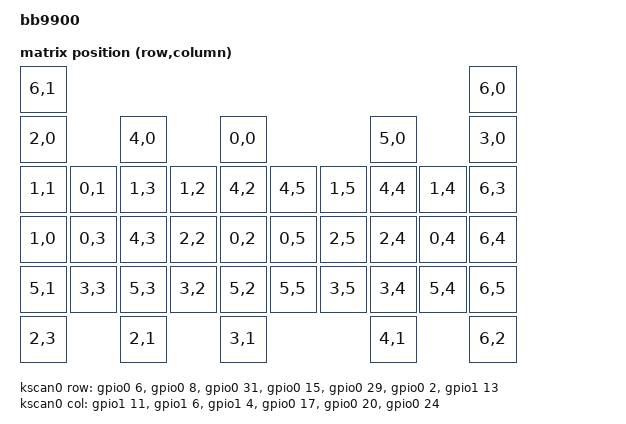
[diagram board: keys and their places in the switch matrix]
/*
 * Copyright (c) 2023 ZitaoTech
 *
 * SPDX-License-Identifier: MIT
 */

/dts-v1/;
#include <nordic/nrf52840_qiaa.dtsi>
#include <common/nordic/nrf52840_uf2_boot_mode.dtsi>

#include <dt-bindings/led/led.h>
#include <dt-bindings/zmk/matrix_transform.h>
#include <dt-bindings/zmk/hid_indicators.h>
#include <dt-bindings/zmk/input_transform.h>
#include <input/processors.dtsi>

#include "bb9900-pinctrl.dtsi"

/ {
    model = "bb9900";
    compatible = "zitaotech,bb9900";

    chosen {
        zephyr,code-partition = &code_partition;
        zephyr,sram = &sram0;
        zephyr,flash = &flash0;
        zmk,battery = &vbatt;
        zmk,kscan = &kscan0;
        zmk,matrix-transform = &default_transform;
        zmk,backlight = &backlight;
        zitaotech,layer-indicator = &layer_indicator_leds;
        zitaotech,capslock-indicator = &capslock_indicator_leds;
    };

    // Big button backlight, used as the layer indicator.
    layer_indicator_leds: layer_indicator_leds {
        compatible = "pwm-leds";
        pwm_led_0 {
            pwms = <&pwm0 0 PWM_USEC(20) PWM_POLARITY_NORMAL>;
        };
    };

    // Trackpad backlight, used as the caps lock indicator.
    capslock_indicator_leds: capslock_indicator_leds {
        compatible = "pwm-leds";
        pwm_led_0 {
            pwms = <&pwm2 0 PWM_USEC(20) PWM_POLARITY_NORMAL>;
        };
    };

    backlight: backlight {
        compatible = "pwm-leds";
        pwm_led_0 {
            pwms = <&pwm1 0 PWM_MSEC(10) PWM_POLARITY_NORMAL>;
        };
    };

    default_transform: keymap_transform_0 {
        compatible = "zmk,matrix-transform";
        columns = <6>;
        rows = <7>;
        map = <
RC(6,1)                                                                   RC(6,0)
RC(2,0)          RC(4,0)             RC(0,0)             RC(5,0)          RC(3,0)
RC(1,1)  RC(0,1) RC(1,3) RC(1,2) RC(4,2) RC(4,5) RC(1,5) RC(4,4) RC(1,4)  RC(6,3)
RC(1,0)  RC(0,3) RC(4,3) RC(2,2) RC(0,2) RC(0,5) RC(2,5) RC(2,4) RC(0,4)  RC(6,4)
RC(5,1)  RC(3,3) RC(5,3) RC(3,2) RC(5,2) RC(5,5) RC(3,5) RC(3,4) RC(5,4)  RC(6,5)
RC(2,3)          RC(2,1)             RC(3,1)             RC(4,1)          RC(6,2)
        >;
    };

    kscan0: kscan {
        compatible = "zmk,kscan-gpio-matrix";
        diode-direction = "col2row";
        debounce-press-ms = <10>;
        debounce-release-ms = <10>;
        row-gpios
            = <&gpio0 6  (GPIO_ACTIVE_HIGH | GPIO_PULL_DOWN)>
            , <&gpio0 8  (GPIO_ACTIVE_HIGH | GPIO_PULL_DOWN)>
            , <&gpio0 31 (GPIO_ACTIVE_HIGH | GPIO_PULL_DOWN)>
            , <&gpio0 15 (GPIO_ACTIVE_HIGH | GPIO_PULL_DOWN)>
            , <&gpio0 29 (GPIO_ACTIVE_HIGH | GPIO_PULL_DOWN)>
            , <&gpio0 2  (GPIO_ACTIVE_HIGH | GPIO_PULL_DOWN)>
            , <&gpio1 13 (GPIO_ACTIVE_HIGH | GPIO_PULL_DOWN)>
            ;
        col-gpios
            = <&gpio1 11 GPIO_ACTIVE_HIGH>
            , <&gpio1 6  GPIO_ACTIVE_HIGH>
            , <&gpio1 4  GPIO_ACTIVE_HIGH>
            , <&gpio0 17 GPIO_ACTIVE_HIGH>
            , <&gpio0 20 GPIO_ACTIVE_HIGH>
            , <&gpio0 24 GPIO_ACTIVE_HIGH>
            ;
    };

    // Node name must match original "EXT_POWER" label to preserve user settings.
    ext_power_supply: EXT_POWER {
        compatible = "zmk,ext-power-generic";
        control-gpios = <&gpio0 13 GPIO_ACTIVE_LOW>;
    };

    vbatt: vbatt {
        compatible = "zmk,battery-voltage-divider";
        io-channels = <&adc 2>;
        output-ohms = <2000000>;
        full-ohms = <(2000000 + 820000)>;
    };

    // Trackpad mode switches to scrolling while the host has caps lock or scroll lock on.
    indicator_scroll: indicator_scroll {
        compatible = "zitaotech,input-processor-indicator-scroll";
        #input-processor-cells = <0>;
        indicators = <(HID_INDICATOR_CAPS_LOCK | HID_INDICATOR_SCROLL_LOCK)>;
        interval-ms = <30>;
    };

    // The sensor is mounted rotated, so swap the axes before anything else. The 3/2 scaler
    // matches the original firmware's 1.5x pointer speed; override input-processors in your
    // keymap to change it.
    trackpad_listener: trackpad_listener {
        compatible = "zmk,input-listener";
        device = <&trackpad>;
        input-processors = <&zip_xy_transform INPUT_TRANSFORM_XY_SWAP>,
                           <&indicator_scroll>,
                           <&zip_xy_scaler 3 2>;
    };
};

// P0.09 and P0.10 drive the keyboard and trackpad backlights.
&uicr {
    nfct-pins-as-gpios;
};

&reg1 {
    regulator-initial-mode = <NRF5X_REG_MODE_DCDC>;
};

&adc {
    status = "okay";
};

&gpiote {
    status = "okay";
};

&gpio0 {
    status = "okay";
};

&gpio1 {
    status = "okay";
};

&i2c0 {
    compatible = "nordic,nrf-twim";
    status = "okay";
    clock-frequency = <I2C_BITRATE_FAST>;
    pinctrl-0 = <&i2c0_default>;
    pinctrl-1 = <&i2c0_sleep>;
    pinctrl-names = "default", "sleep";

    trackpad: a320@3b {
        compatible = "avago,a320";
        reg = <0x3b>;
        polling-interval-ms = <10>;
        motion-polling-interval-ms = <2>;
        ext-power = <&ext_power_supply>;
        speed-switching;
        assert-deassert;
        finger-detect;
        // Tuned from traces: thumb swipes peak at 4-8 inches per second, well under the sensor
        // defaults, so step up through 750/1000/1250 CPI at 2, 3 and 4 ips.
        //                   ST12 ST21 ST23 ST32 ST34 ST43 ST45 ST54
        speed-thresholds = [  08   06   10   0c   18   14   20   1c ];
        high-cpi;
        // Tracking shutter values sit around 140-230 and jump well above that as the finger lifts.
        // High-shutter samples that continue a fast stroke are still reported.
        liftoff-shutter-threshold = <240>;
    };
};

&pwm0 {
    status = "okay";
    pinctrl-0 = <&pwm0_default>;
    pinctrl-1 = <&pwm0_sleep>;
    pinctrl-names = "default", "sleep";
};

&pwm1 {
    status = "okay";
    pinctrl-0 = <&pwm1_default>;
    pinctrl-1 = <&pwm1_sleep>;
    pinctrl-names = "default", "sleep";
};

&pwm2 {
    status = "okay";
    pinctrl-0 = <&pwm2_default>;
    pinctrl-1 = <&pwm2_sleep>;
    pinctrl-names = "default", "sleep";
};

zephyr_udc0: &usbd {
    status = "okay";
};

&flash0 {
    /*
     * For more information, see:
     * http://docs.zephyrproject.org/latest/devices/dts/flash_partitions.html
     */
    partitions {
        compatible = "fixed-partitions";
        #address-cells = <1>;
        #size-cells = <1>;

        sd_partition: partition@0 {
            reg = <0x00000000 0x00001000>;
        };

        code_partition: partition@1000 {
            reg = <0x00001000 0x000d3000>;
        };

        /*
         * The flash starting at 0x000d4000 and ending at
         * 0x000f3fff is reserved for use by the application.
         */

        /*
         * Storage partition will be used by FCB/LittleFS/NVS
         * if enabled.
         */
        storage_partition: partition@d4000 {
            reg = <0x000d4000 0x00020000>;
        };

        boot_partition: partition@f4000 {
            reg = <0x000f4000 0x0000c000>;
        };
    };
};
